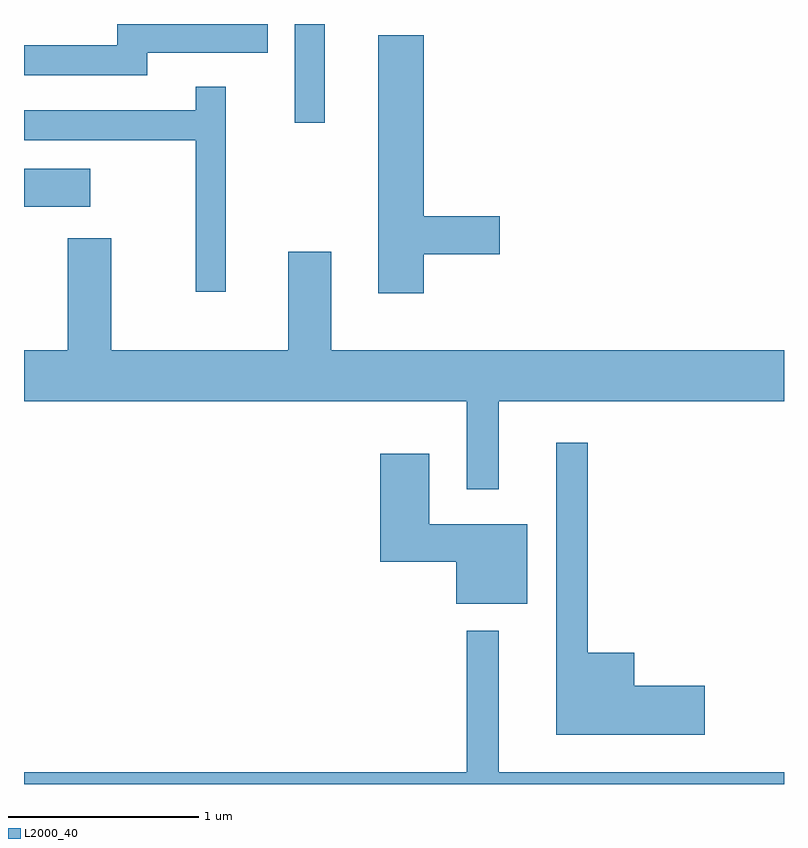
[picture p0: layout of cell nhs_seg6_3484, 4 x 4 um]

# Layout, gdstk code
import gdstk
lib = gdstk.Library(unit=1e-6, precision=1e-09)
def R(c, l, rs):  # rectangles x0, y0, x1, y1
    for r in rs: c.add(gdstk.rectangle(r[:2], r[2:], *l))
def P(c, l, *ps):  # polygons
    for p in ps: c.add(gdstk.Polygon(p, *l))
L2000_40 = (2000, 40)

nhs_seg6_3484 = lib.new_cell('nhs_seg6_3484')
R(nhs_seg6_3484, L2000_40, [(289.611,1633.201,289.959,1633.399), (291.036,1633.643,291.194,1634.162)])
P(nhs_seg6_3484, L2000_40, [(290.259,1634.011),(290.893,1634.011),(290.893,1634.162),(290.101,1634.162),(290.101,1634.049),(289.611,1634.049),(289.611,1633.891),(290.259,1633.891)],
  [(291.714,1632.951),(292.114,1632.951),(292.114,1633.149),(291.714,1633.149),(291.714,1634.104),(291.476,1634.104),(291.476,1632.746),(291.714,1632.746)],
  [(290.674,1633.833),(290.516,1633.833),(290.516,1633.709),(289.611,1633.709),(289.611,1633.551),(290.516,1633.551),(290.516,1632.753),(290.674,1632.753)],
  [(289.841,1633.034),(289.841,1632.444),(289.611,1632.444),(289.611,1632.176),(291.941,1632.176),(291.941,1631.713),(292.109,1631.713),(292.109,1632.176),(293.611,1632.176),(293.611,1632.444),(291.229,1632.444),(291.229,1632.964),(291.001,1632.964),(291.001,1632.444),(290.069,1632.444),(290.069,1633.034)],
  [(293.194,1630.679),(292.824,1630.679),(292.824,1630.854),(292.579,1630.854),(292.579,1631.958),(292.411,1631.958),(292.411,1630.421),(293.194,1630.421)],
  [(292.259,1631.529),(291.744,1631.529),(291.744,1631.899),(291.486,1631.899),(291.486,1631.331),(291.886,1631.331),(291.886,1631.111),(292.259,1631.111)],
  [(293.611,1630.224),(292.109,1630.224),(292.109,1630.968),(291.941,1630.968),(291.941,1630.224),(289.611,1630.224),(289.611,1630.162),(293.611,1630.162)])

lib.write_gds('nhs_seg6_3484.gds')
